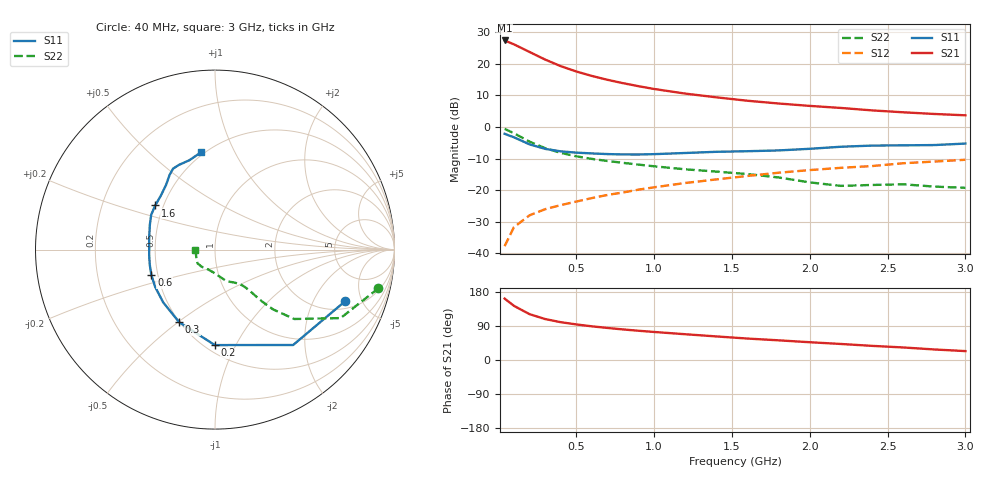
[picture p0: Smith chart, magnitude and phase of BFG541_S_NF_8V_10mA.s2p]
! Filename:  BFG541H.S2P  Version:  3.0
! Philips part #: BFG541  Date: Feb 1992
! Bias condition: Vce=8V, Ic=10mA
#  MHz  S  MA  R  50
! Freq  S11  S21  S12  S22  !GUM [dB]
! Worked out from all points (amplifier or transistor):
!   21 points, 40 MHz to 3 GHz, reference 50 ohm
!   highest |S21| = 27.4 dB at 40 MHz (marker M1)
!   |S21| within 3 dB of that: start of sweep to 173.6 MHz
!   unconditionally stable (mu >= 1): 778.1 MHz to end of sweep
!   at 300 MHz: K = 0.65, MSG = 23.7 dB, |S12| = -26.0 dB
!   at 1 GHz: K = 1.05, MAG = 14.2 dB, |S12| = -19.1 dB
!   at 3 GHz: K = 1.03, MAG = 6.0 dB, |S12| = -10.4 dB
!   lowest NFmin = 1.30 dB at 900 MHz
!   S11 on the Smith chart (normalised r, x): 40 MHz: 2.49, -3.65; 200 MHz: 0.56, -0.83; 300 MHz: 0.50, -0.50; 600 MHz: 0.46, -0.15; 1.6 GHz: 0.45, +0.27; 3 GHz: 0.48, +0.74
40  0.781 -21.5  23.44 162.1  0.013 78.3  0.936 -13.3
100  0.687 -50.7  20.35 142.9  0.026 65.5  0.797 -28.6
200  0.532 -90.1  15.43 121.0  0.04 57.8  0.587 -41.2
300  0.451 -116.3  11.69 108.1  0.05 56.4  0.463 -45.9
400  0.412 -134.5  9.206 99.8  0.058 57.3  0.39 -47.8
500  0.393 -147.9  7.57 93.9  0.066 58.7  0.344 -48.8
600  0.382 -158.2  6.438 88.9  0.075 60.0  0.313 -49.5
700  0.373 -167.2  5.593 84.6  0.084 61.0  0.29 -50.3
800  0.368 -175.2  4.945 80.7  0.092 61.6  0.271 -51.1
900  0.367 177.4  4.428 77.2  0.102 62.2  0.254 -52.4
1000  0.372 170.5  4.001 74.0  0.111 62.5  0.239 -54.0
1200  0.388 159.4  3.381 68.0  0.13 62.3  0.214 -59.2
1400  0.405 151.4  2.951 62.2  0.148 61.6  0.197 -65.5
1600  0.414 143.5  2.604 56.6  0.168 61.3  0.18 -71.7
1800  0.426 135.1  2.356 51.9  0.189 59.3  0.159 -78.0
2000  0.452 127.1  2.159 46.9  0.208 58.1  0.133 -89.5
2200  0.487 121.3  2.003 42.3  0.226 56.2  0.117 -108.9
2400  0.508 117.4  1.833 37.3  0.241 55.3  0.121 -128.3
2600  0.513 113.0  1.71 33.1  0.267 52.5  0.124 -142.0
2800  0.518 106.0  1.609 27.8  0.284 49.0  0.114 -155.5
3000  0.547 98.3  1.532 23.5  0.303 47.6  0.109 179.9
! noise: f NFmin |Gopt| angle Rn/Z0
900  1.3  0.273  144  0.1
1000  1.4  0.25  150  0.12
2000  2.1  0.523  -147  0.12
